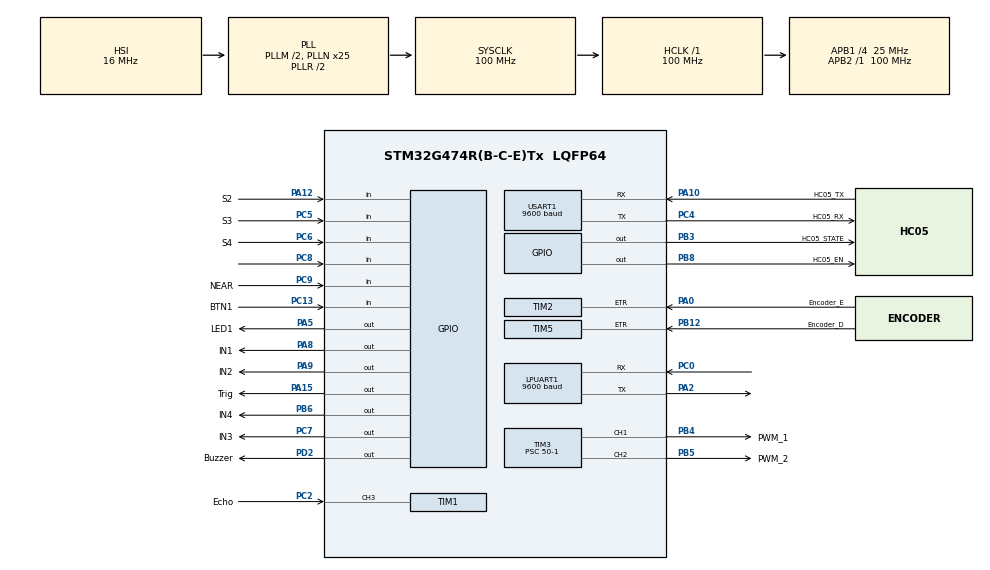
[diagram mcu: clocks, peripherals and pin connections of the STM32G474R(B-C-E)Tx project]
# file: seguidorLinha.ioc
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FREERTOS.BinarySemaphores01=SemaphoreMovimenta,Dynamic,NULL;SemaphoreComunica,Dynamic,NULL
FREERTOS.Tasks01=Utrassom,26,256,FunctionUltrassom,Default,NULL,Dynamic,NULL,NULL;Comunica,8,128,FunctionComunica,Default,NULL,Dynamic,NULL,NULL;Seguidor,17,128,FunctionSeguidor,Default,NULL,Dynamic,NULL,NULL;Motores,16,128,FunctionAtivarMotores,Default,NULL,Dynamic,NULL,NULL;Odometria,24,128,FunctionOdometria,Default,NULL,Dynamic,NULL,NULL
FREERTOS.configTOTAL_HEAP_SIZE=5120
FREERTOS.configUSE_NEWLIB_REENTRANT=1
LPUART1.BaudRate=9600
Mcu.Family=STM32G4
Mcu.Name=STM32G474R(B-C-E)Tx
Mcu.Package=LQFP64
NVIC.PriorityGroup=NVIC_PRIORITYGROUP_4
NVIC.TIM1_CC_IRQn=true\:5\:0\:false\:false\:true\:true\:true\:true\:true
NVIC.TIM6_DAC_IRQn=true\:5\:0\:false\:false\:true\:true\:true\:true\:true
PA0.GPIO_Label=Encoder_E
PA0.Signal=S_TIM2_ETR
PA10.GPIO_Label=HC05_TX
PA10.Mode=Asynchronous
PA10.Signal=USART1_RX
PA12.GPIO_Label=S2
PA12.Signal=GPIO_Input
PA15.GPIO_Label=Trig
PA15.Signal=GPIO_Output
PA2.Mode=Asynchronous
PA2.Signal=LPUART1_TX
PA5.GPIO_Label=LED1
PA5.Signal=GPIO_Output
PA8.GPIO_Label=IN1
PA8.Signal=GPIO_Output
PA9.GPIO_Label=IN2
PA9.Signal=GPIO_Output
PB12.GPIO_Label=Encoder_D
PB12.Signal=S_TIM5_ETR
PB3.GPIO_Label=HC05_STATE
PB3.Signal=GPIO_Output
PB4.GPIO_Label=PWM_1
PB4.GPIO_ModeDefaultPP=GPIO_MODE_AF_PP
PB4.GPIO_PuPd=GPIO_NOPULL
PB4.GPIO_Speed=GPIO_SPEED_FREQ_LOW
PB4.Signal=S_TIM3_CH1
PB5.GPIO_Label=PWM_2
PB5.GPIO_ModeDefaultPP=GPIO_MODE_AF_PP
PB5.GPIO_PuPd=GPIO_NOPULL
PB5.GPIO_Speed=GPIO_SPEED_FREQ_LOW
PB5.Signal=S_TIM3_CH2
PB6.GPIO_Label=IN4
PB6.Signal=GPIO_Output
PB8-BOOT0.GPIO_Label=HC05_EN
PB8-BOOT0.Signal=GPIO_Output
PC0.Mode=Asynchronous
PC0.Signal=LPUART1_RX
PC13.GPIO_Label=BTN1
PC13.Signal=GPIO_Input
PC2.GPIO_Label=Echo
PC2.GPIO_ModeDefaultPP=GPIO_MODE_AF_PP
PC2.GPIO_PuPd=GPIO_NOPULL
PC2.GPIO_Speed=GPIO_SPEED_FREQ_LOW
PC2.Signal=S_TIM1_CH3
PC4.GPIO_Label=HC05_RX
PC4.Mode=Asynchronous
PC4.Signal=USART1_TX
PC5.GPIO_Label=S3
PC5.Signal=GPIO_Input
PC6.GPIO_Label=S4
PC6.Signal=GPIO_Input
PC7.GPIO_Label=IN3
PC7.Signal=GPIO_Output
PC8.Signal=GPIO_Input
PC9.GPIO_Label=NEAR
PC9.Signal=GPIO_Input
PD2.GPIO_Label=Buzzer
PD2.Signal=GPIO_Output
ProjectManager.HeapSize=0x200
ProjectManager.StackSize=0x400
ProjectManager.TargetToolchain=STM32CubeIDE
RCC.ADC12Freq_Value=100000000
RCC.ADC345Freq_Value=100000000
RCC.AHBFreq_Value=100000000
RCC.APB1CLKDivider=RCC_HCLK_DIV4
RCC.APB1Freq_Value=25000000
RCC.APB1TimFreq_Value=50000000
RCC.APB2Freq_Value=100000000
RCC.APB2TimFreq_Value=100000000
RCC.CortexFreq_Value=100000000
RCC.EXTERNAL_CLOCK_VALUE=12288000
RCC.HCLKFreq_Value=100000000
RCC.HSE_VALUE=8000000
RCC.HSI48_VALUE=48000000
RCC.HSI_VALUE=16000000
RCC.LSE_VALUE=32768
RCC.PLLM=RCC_PLLM_DIV2
RCC.PLLN=25
RCC.SYSCLKFreq_VALUE=100000000
RCC.SYSCLKSource=RCC_SYSCLKSOURCE_PLLCLK
RCC.USBFreq_Value=100000000
RCC.VCOOutputFreq_Value=200000000
SH.S_TIM1_CH3.0=TIM1_CH3,Input_Capture3_from_TI3
SH.S_TIM2_ETR.0=TIM2_ETR,ClockSourceETR_Mode2
SH.S_TIM3_CH1.0=TIM3_CH1,PWM Generation1 CH1
SH.S_TIM3_CH2.0=TIM3_CH2,PWM Generation2 CH2
SH.S_TIM5_ETR.0=TIM5_ETR,ClockSourceETR_Mode2
TIM1.Channel-Input_Capture3_from_TI3=TIM_CHANNEL_3
TIM1.PeriodNoDither=65535
TIM1.Prescaler=50-1
TIM2.PeriodNoDither=1000000-1
TIM3.Channel-PWM\ Generation1\ CH1=TIM_CHANNEL_1
TIM3.Channel-PWM\ Generation2\ CH2=TIM_CHANNEL_2
TIM3.PeriodNoDither=100-1
TIM3.Prescaler=50-1
TIM5.PeriodNoDither=1000000-1
TIM6.PeriodNoDither=1000-1
TIM6.Prescaler=5000-1
USART1.BaudRate=9600
USART1.VirtualMode-Asynchronous=VM_ASYNC
VP_FREERTOS_VS_CMSIS_V2.Mode=CMSIS_V2
VP_TIM1_VS_ClockSourceINT.Mode=Internal
VP_TIM6_VS_ClockSourceINT.Mode=Enable_Timer
board=custom

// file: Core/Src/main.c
/* USER CODE BEGIN Header */
/**
  ******************************************************************************
  * @file           : main.c
  * @brief          : Main program body
  ******************************************************************************
  * @attention
  *
  * Copyright (c) 2022 STMicroelectronics.
  * All rights reserved.
  *
  * This software is licensed under terms that can be found in the LICENSE file
  * in the root directory of this software component.
  * If no LICENSE file comes with this software, it is provided AS-IS.
  *
  ******************************************************************************
  */
/* USER CODE END Header */
#include "main.h"
#include "cmsis_os.h"
#include "usart.h"
#include "tim.h"
#include "gpio.h"

/* USER CODE BEGIN Includes */
#include <stdio.h>
#include <string.h>
/* USER CODE END Includes */

void SystemClock_Config(void);
void MX_FREERTOS_Init(void);

/* USER CODE BEGIN 0 */

int _write(int file, char *ptr, int len){
  if(HAL_UART_Transmit_IT(&hlpuart1,(uint8_t *)ptr, len) != HAL_OK)
  {
	  Error_Handler();
  }
  return len;
}

/* USER CODE END 0 */

int main(void)
{

  /* MCU Configuration--------------------------------------------------------*/

  /* Reset of all peripherals, Initializes the Flash interface and the Systick. */
  HAL_Init();

  /* Configure the system clock */
  SystemClock_Config();

  /* Initialize all configured peripherals */
  MX_GPIO_Init();
  MX_TIM1_Init();
  MX_TIM2_Init();
  MX_TIM3_Init();
  MX_TIM6_Init();
  MX_LPUART1_UART_Init();
  MX_TIM5_Init();
  MX_USART1_UART_Init();

  /* Init scheduler */
  osKernelInitialize();  /* Call init function for freertos objects (in freertos.c) */
  MX_FREERTOS_Init();

  /* Start scheduler */
  osKernelStart();

  /* We should never get here as control is now taken by the scheduler */
  /* Infinite loop */
  while (1)
  {

  }
}

void SystemClock_Config(void)
{
  RCC_OscInitTypeDef RCC_OscInitStruct = {0};
  RCC_ClkInitTypeDef RCC_ClkInitStruct = {0};

  /** Configure the main internal regulator output voltage
  */
  HAL_PWREx_ControlVoltageScaling(PWR_REGULATOR_VOLTAGE_SCALE1);

  /** Initializes the RCC Oscillators according to the specified parameters
  * in the RCC_OscInitTypeDef structure.
  */
  RCC_OscInitStruct.OscillatorType = RCC_OSCILLATORTYPE_HSI;
  RCC_OscInitStruct.HSIState = RCC_HSI_ON;
  RCC_OscInitStruct.HSICalibrationValue = RCC_HSICALIBRATION_DEFAULT;
  RCC_OscInitStruct.PLL.PLLState = RCC_PLL_ON;
  RCC_OscInitStruct.PLL.PLLSource = RCC_PLLSOURCE_HSI;
  RCC_OscInitStruct.PLL.PLLM = RCC_PLLM_DIV2;
  RCC_OscInitStruct.PLL.PLLN = 25;
  RCC_OscInitStruct.PLL.PLLP = RCC_PLLP_DIV2;
  RCC_OscInitStruct.PLL.PLLQ = RCC_PLLQ_DIV2;
  RCC_OscInitStruct.PLL.PLLR = RCC_PLLR_DIV2;
  if (HAL_RCC_OscConfig(&RCC_OscInitStruct) != HAL_OK)
  {
    Error_Handler();
  }

  /** Initializes the CPU, AHB and APB buses clocks
  */
  RCC_ClkInitStruct.ClockType = RCC_CLOCKTYPE_HCLK|RCC_CLOCKTYPE_SYSCLK
                              |RCC_CLOCKTYPE_PCLK1|RCC_CLOCKTYPE_PCLK2;
  RCC_ClkInitStruct.SYSCLKSource = RCC_SYSCLKSOURCE_PLLCLK;
  RCC_ClkInitStruct.AHBCLKDivider = RCC_SYSCLK_DIV1;
  RCC_ClkInitStruct.APB1CLKDivider = RCC_HCLK_DIV4;
  RCC_ClkInitStruct.APB2CLKDivider = RCC_HCLK_DIV1;

  if (HAL_RCC_ClockConfig(&RCC_ClkInitStruct, FLASH_LATENCY_3) != HAL_OK)
  {
    Error_Handler();
  }
}

void Error_Handler(void)
{
  __disable_irq();
  while (1)
  {
  }
}

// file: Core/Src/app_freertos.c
/* USER CODE BEGIN Header */
/* ***********************************************************************************
*File name: seguidorLinha.c
*
*File description:  Projeto da disciplina IM420X com foco na utilização de Sistema Operacional em Tempo Real (RTOS)
* 					para gerenciamento de tarefas. O presente trabalho teve como finalidade desenvolver um veículo
* 					seguidor de linhas capaz de,atravez de sensores, evitar colisões.
* Author name:
*				Ramiro Romankevicius Costa.
*				Djalma Santana Malta Neto.
*
* Creation date: 10/11/2022.
*
* Revision date: 05/12/2022.
********************************************************************************** */
/* USER CODE END Header */

#include "FreeRTOS.h"
#include "task.h"
#include "main.h"
#include "cmsis_os.h"

/* USER CODE BEGIN Includes */
#include "usart.h"
#include "tim.h"
#include "stdio.h"
#include "stdlib.h"
#include <string.h>
#include "math.h"
#include "pid.h"
/* USER CODE END Includes */

/* USER CODE BEGIN Variables */

/*variáveis utilizadas pelo sensor ultrassônico*/
long lValor1;
long lValor2;
float fDiferenca, fDistancia;
uint8_t uiIsFirst = 1;

/*variáveis utilizadas pelos motores*/
float fVelocidade = 0.2; // M/s
float fReducao = 0.5;
float fWAngularD, fWAngularE,fPIDVal_D, fPIDVal_E, fVE,fVD;

/*variáveis utilizadas pela odometria*/
#define FUROS 20
#define RAIO 0.0325
#define COMPRIMENTO 0.12
#define LARGURA 0.028
#define PI 3.141516
#define fTs 0.1

float fTeta, fX, fY, fDistanciaO;

/*encoder_Esquerdo*/
unsigned long ulPulsesE;
float fWE;

/*encoder_Direito*/
unsigned long ulPulsesD;
float fWD;

/*variáveis utilizadas pelo seguidor*/
uint32_t uiStart = 0;
uint32_t uiBloqueado = 0;
uint32_t uiCountSeguidor = 0;

/*variáveis utilizadas para comunicação*/
char cMostrar[100];
char cData='M';

/* USER CODE END Variables */
/* Definitions for Utrassom */
osThreadId_t UtrassomHandle;
const osThreadAttr_t Utrassom_attributes = {
  .name = "Utrassom",
  .priority = (osPriority_t) osPriorityNormal2,
  .stack_size = 256 * 4
};
/* Definitions for Comunica */
osThreadId_t ComunicaHandle;
const osThreadAttr_t Comunica_attributes = {
  .name = "Comunica",
  .priority = (osPriority_t) osPriorityLow,
  .stack_size = 128 * 4
};
/* Definitions for Seguidor */
osThreadId_t SeguidorHandle;
const osThreadAttr_t Seguidor_attributes = {
  .name = "Seguidor",
  .priority = (osPriority_t) osPriorityBelowNormal1,
  .stack_size = 128 * 4
};
/* Definitions for Motores */
osThreadId_t MotoresHandle;
const osThreadAttr_t Motores_attributes = {
  .name = "Motores",
  .priority = (osPriority_t) osPriorityBelowNormal,
  .stack_size = 128 * 4
};
/* Definitions for Odometria */
osThreadId_t OdometriaHandle;
const osThreadAttr_t Odometria_attributes = {
  .name = "Odometria",
  .priority = (osPriority_t) osPriorityNormal,
  .stack_size = 128 * 4
};
/* Definitions for SemaphoreMovimenta */
osSemaphoreId_t SemaphoreMovimentaHandle;
const osSemaphoreAttr_t SemaphoreMovimenta_attributes = {
  .name = "SemaphoreMovimenta"
};
/* Definitions for SemaphoreComunica */
osSemaphoreId_t SemaphoreComunicaHandle;
const osSemaphoreAttr_t SemaphoreComunica_attributes = {
  .name = "SemaphoreComunica"
};

void FunctionUltrassom(void *argument);
void FunctionComunica(void *argument);
void FunctionSeguidor(void *argument);
void FunctionAtivarMotores(void *argument);
void FunctionOdometria(void *argument);

void MX_FREERTOS_Init(void); /* (MISRA C 2004 rule 8.1) */

void MX_FREERTOS_Init(void) {

  /* Create the semaphores(s) */
  /* creation of SemaphoreMovimenta */
  SemaphoreMovimentaHandle = osSemaphoreNew(1, 1, &SemaphoreMovimenta_attributes);

  /* creation of SemaphoreComunica */
  SemaphoreComunicaHandle = osSemaphoreNew(1, 1, &SemaphoreComunica_attributes);

  /* Create the thread(s) */
  /* creation of Utrassom */
  UtrassomHandle = osThreadNew(FunctionUltrassom, NULL, &Utrassom_attributes);

  /* creation of Comunica */
  ComunicaHandle = osThreadNew(FunctionComunica, NULL, &Comunica_attributes);

  /* creation of Seguidor */
  SeguidorHandle = osThreadNew(FunctionSeguidor, NULL, &Seguidor_attributes);

  /* creation of Motores */
  MotoresHandle = osThreadNew(FunctionAtivarMotores, NULL, &Motores_attributes);

  /* creation of Odometria */
  OdometriaHandle = osThreadNew(FunctionOdometria, NULL, &Odometria_attributes);

}

void FunctionUltrassom(void *argument)
{
  /* USER CODE BEGIN FunctionUltrassom */
	HAL_TIM_IC_Start_IT(&htim1, TIM_CHANNEL_3);
  /* Infinite loop */
	for(;;)
	{
		/*É dado um pulso inicial no pino do trigge por 10ms*/
		__HAL_TIM_ENABLE_IT(&htim1, TIM_CHANNEL_3);
		HAL_GPIO_WritePin(Trig_GPIO_Port, Trig_Pin, 1);
		osDelay(10);
		HAL_GPIO_WritePin(Trig_GPIO_Port, Trig_Pin, 0);
		osDelay(500);
	}
  /* USER CODE END FunctionUltrassom */
}

void FunctionComunica(void *argument)
{
  /* USER CODE BEGIN FunctionComunica */
  /* Infinite loop */
  for(;;)
  {
	  osSemaphoreAcquire(SemaphoreComunicaHandle, 200);

	  /*
	   * Baseado em notas de aula, e aconselhamento com o aluno Christian da Rocha Iardino sobre uso da interrupção com o modulo HC-05
	   * Captura de valor vindo do terminal remoto bluetooth podem=ndo ser "M", "O" ou "V"
	   * Sendo "M" RPS de cada roda, "O" dados da odometria e "V" deslocamento em m/s de cada roda
	   */
	  HAL_UART_Receive(&huart1, (uint8_t *)&cData, sizeof(cData),100);
	  if(uiBloqueado){
		  int dist1 = (int)fDistancia;
		  int dist2 = (fDistancia-(int)fDistancia)*100;

		  sprintf(cMostrar,"Blockeado: %d.%02d \r \n ",dist1,dist2);
	  } else if(!uiStart){
		  sprintf(cMostrar,"Aguardando Start!! \r \n ");
	  } else{
		  if(cData == 'O' || cData == 'o'){
			  int valor1 = (int)fDistanciaO;
			  int valor2 = (fDistanciaO-(int)fDistanciaO)*100;

			  sprintf(cMostrar,"Distancia Percorrida: %d.%02dm \r \n ",valor1,valor2);
		  }else if(cData == 'V' || cData == 'v'){
			  int valor1 = (int)fWE;
			  int valor2 = (fWE-(int)fWE)*100;

			  int valor3 = (int)fWD;
			  int valor4 = (fWD-(int)fWD)*100;

			  sprintf(cMostrar,"MotorE: %d.%02d m/s -- MotorD: %d.%02d m/s \r \n ",valor1,valor2,valor3,valor4);
		  }else{
			  cData = 'M';
			  float valE = ((float)ulPulsesE/FUROS)*10;
			  float valD = ((float)ulPulsesD/FUROS)*10;

			  int valor1 = (int)valE;
			  int valor2 = (valE-(int)valE)*100;

			  int valor3 = (int)valD;
			  int valor4 = (valD-(int)valD)*100;

			  sprintf(cMostrar,"RPS_E: %d.%02d -- RPS_D: %d.%02d \r \n ",valor1,valor2,valor3,valor4);
		  }
	  }

	  /*transmite a informação via UART e via BlueTooth*/
	  HAL_UART_Transmit(&huart1, (uint8_t*)cMostrar, sizeof(cMostrar), 100);
	  HAL_UART_Transmit(&hlpuart1, (uint8_t*)cMostrar, sizeof(cMostrar), 100);

	  osSemaphoreRelease(SemaphoreComunicaHandle);
	  osDelay(100);
  }
  /* USER CODE END FunctionComunica */
}

void FunctionSeguidor(void *argument)
{
  /* USER CODE BEGIN FunctionSeguidor */

	/* Etapa baseado em notas de aula. */

  /* Infinite loop */
  for(;;)
  {
	  /*Faz a leitura dos dados dos sensores*/
    uint8_t uiS2 = HAL_GPIO_ReadPin(S2_GPIO_Port, S2_Pin);
    uint8_t uiS3 = HAL_GPIO_ReadPin(S3_GPIO_Port, S3_Pin);
    uint8_t uiS4 = HAL_GPIO_ReadPin(S4_GPIO_Port, S4_Pin);

    //uint8_t uiNEAR = HAL_GPIO_ReadPin(NEAR_GPIO_Port, NEAR_Pin);
    //uint8_t uiCLP = HAL_GPIO_ReadPin(CLP_GPIO_Port, CLP_Pin);
    uint8_t uiBTN = HAL_GPIO_ReadPin(BTN1_GPIO_Port, BTN1_Pin);

    osSemaphoreAcquire(SemaphoreMovimentaHandle, 200);

    if(uiBloqueado){/*caso blockeado...*/
    	fWAngularD = 0;
		fWAngularE = 0;
		HAL_GPIO_WritePin(Buzzer_GPIO_Port, Buzzer_Pin, GPIO_PIN_SET);
		osDelay(500);
		HAL_GPIO_WritePin(Buzzer_GPIO_Port, Buzzer_Pin, GPIO_PIN_RESET);
    }else if(uiBTN){/*caso BTN start pressionado...*/
    	uiStart = uiStart?0:1;
    	uiCountSeguidor = 0;
    	fWAngularD = 0;
    	fWAngularE = 0;
    	HAL_GPIO_WritePin(Buzzer_GPIO_Port, Buzzer_Pin, GPIO_PIN_SET);
    	osDelay(500);
    	HAL_GPIO_WritePin(Buzzer_GPIO_Port, Buzzer_Pin, GPIO_PIN_RESET);
    	osDelay(500);
    }else if(uiStart && uiCountSeguidor < 50){/*caso start pressionado e o veículo esteja na linha...*/
    	if(uiS2 && uiS3 && !uiS4){/*caso linha no sensor direito...*/
    		uiCountSeguidor = 0;
			fWAngularE = fVelocidade;
			fWAngularD = 0;
		}else if(!uiS2 && uiS3 && uiS4){/*caso linha no sensor esquerdo...*/
			uiCountSeguidor = 0;
			fWAngularE = 0;
			fWAngularD = fVelocidade;
		}else if(uiS2 && !uiS3 && uiS4){/*caso linha no sensor do meio...*/
			uiCountSeguidor = 0;
			fWAngularD = fVelocidade;
			fWAngularE = fVelocidade;
		}else if(!uiS2 && !uiS3 && !uiS4){/*caso linha nos tres sensores(Fim de curso)...*/
			uiCountSeguidor = 0;
			fWAngularD = 0;
			fWAngularE = 0;
			uiStart = 0;
			HAL_GPIO_WritePin(Buzzer_GPIO_Port, Buzzer_Pin, GPIO_PIN_SET);
			osDelay(100);
			HAL_GPIO_WritePin(Buzzer_GPIO_Port, Buzzer_Pin, GPIO_PIN_RESET);
			osDelay(100);
		}
    	/*
    	 * Caso o veículo saia da linha ele permanece fazendo a ultima manobra de correção, enquanto não encontrar  a linha
    	 * o contador "uiCountSeguidor" irá incrementar e quando exceder o valor 50 o veículo ira para o modo blockeado
    	 */
    	if(uiS2 && uiS3 && uiS4){/*caso sensores fora da linha(fora da trajetória)...*/
    		uiCountSeguidor++;
		}
    }else{
    	if(uiCountSeguidor >= 50){
    		uiBloqueado = 1;
    	}
    	fWAngularD = 0;
		fWAngularE = 0;
    }
    osDelay(100);
    osSemaphoreRelease(SemaphoreMovimentaHandle);
  }
  /* USER CODE END FunctionSeguidor */
}

void FunctionAtivarMotores(void *argument)
{
  /* USER CODE BEGIN FunctionAtivarMotores */

	/* baseado em: https://deepbluembedded.com/stm32-pwm-example-timer-pwm-mode-tutorial/ */

	/*Iniciando o PWM*/
	HAL_TIM_PWM_Start(&htim3, TIM_CHANNEL_1);
	HAL_TIM_PWM_Start(&htim3, TIM_CHANNEL_2);

	/*Iniciando o PID com os devidos ganhos*/
	sPID_D pid_D;
	sPID_E pid_E;

	pid_E.fKpE = 15;
	pid_E.fKiE = 0.8;
	pid_E.fKdE = 0.0001;
	pid_E.fTsE = 100;
	pid_E.fOutminE = 0;
	pid_E.fOutmaxE = 100;
	PID_init_E(&pid_E);

	pid_D.fKpD = 15;
	pid_D.fKiD = 0.8;
	pid_D.fKdD = 0.0001;
	pid_D.fTsD = 100;
	pid_D.fOutminD = 0;
	pid_D.fOutmaxD = 100;
	PID_init_D(&pid_D);

  /* Infinite loop */
  for(;;)
  {
	  osSemaphoreAcquire(SemaphoreMovimentaHandle, 200);

	  /*seta o IN1, IN2, IN3 e IN4 de forma que o veículo siga em frente*/
	  HAL_GPIO_WritePin(IN1_GPIO_Port, IN1_Pin, 1);
	  HAL_GPIO_WritePin(IN2_GPIO_Port, IN2_Pin, 0);

	  HAL_GPIO_WritePin(IN3_GPIO_Port, IN3_Pin, 0);
	  HAL_GPIO_WritePin(IN4_GPIO_Port, IN4_Pin, 1);

	  /*
	   * caso os valores referentes à velocidade dos dois motores sejam "0" o veículo deve parar imediatamente
	   * caso contrario deve prosseguir normalmente
	   */
	  if(!fWAngularD && !fWAngularE){
		  HAL_GPIO_WritePin(IN1_GPIO_Port, IN1_Pin, 0);
		  HAL_GPIO_WritePin(IN2_GPIO_Port, IN2_Pin, 0);

		  HAL_GPIO_WritePin(IN3_GPIO_Port, IN3_Pin, 0);
		  HAL_GPIO_WritePin(IN4_GPIO_Port, IN4_Pin, 0);

		  fPIDVal_E = 0;
		  fPIDVal_D = 0;
	  }else{
		  /*
		   * A função "PID_E" e "PID_D" retorna o valor PWM para cada motor de acordo com a realimentação vinda do encoder
		   * Adaptado de: https://embeddedexpert.io/?p=960,  https://embeddedexpert.io/?p=968 https://embeddedexpert.io/?p=1035
		   */
		  fPIDVal_E = PID_E(fVE, fWAngularE);
		  fPIDVal_D = PID_D(fVD, fWAngularD);

	  }
	  htim3.Instance->CCR2 = fPIDVal_E;
	  htim3.Instance->CCR1 = fPIDVal_D;

	  osSemaphoreRelease(SemaphoreMovimentaHandle);
	  osDelay(100);
  }
  /* USER CODE END FunctionAtivarMotores */
}

void FunctionOdometria(void *argument)
{
  /* USER CODE BEGIN FunctionOdometria */

	/*
	 * Notas de aula e referência:
	 * R. Siegwart, D. Scaramuzza, I. R. Nourbakhsh e R. C. Arkin, Introduction to Autonomous Mobile Robots, 2nd Edition ed., Cambridge, Massachusetts: Mit Press, 2011..
	 */

	HAL_TIM_Base_Start_IT(&htim6);
	HAL_TIM_Base_Start(&htim2);
	HAL_TIM_Base_Start(&htim5);
  /* Infinite loop */
  for(;;)
  {
	  osSemaphoreAcquire(SemaphoreComunicaHandle, 100);

	  /*Primeiro é calculado o valor Teta*/
	  fTeta = fTeta + ((fVD-fVE)/(COMPRIMENTO+LARGURA))*fTs;

	  /*Assim é calculado o valor de deslocamento em X e Y*/
	  fX = fX + ((fVD+fVE)/2)*cos(fTeta)*fTs;
	  fY = fY + ((fVD+fVE)/2)*sin(fTeta)*fTs;

	  /*a distancia é dada pela relação da raiz da doma dos quadrados de X e Y*/
	  fDistanciaO = (sqrt(pow(fX,2) + pow(fY,2)))/0.75;
	  osSemaphoreRelease(SemaphoreComunicaHandle);
	  osDelay(100);
  }
  /* USER CODE END FunctionOdometria */
}

/* USER CODE BEGIN Application */

/*interrupção para captura do ultrassônico*/
void HAL_TIM_IC_CaptureCallback(TIM_HandleTypeDef *htim) {

	/*
	 * baseado em: https://controllerstech.com/hcsr04-ultrasonic-sensor-and-stm32
	 * Auxilio do aluno Giácomo Antonio Dollevedo, no uso e configuração dos timers.
	 */

	if(htim == &htim1){
		/*a interrupção é disparada na borda de subida onde pega o primeiro valor do timer*/
		if(uiIsFirst){
			fDistancia = 0;
			lValor1 = HAL_TIM_ReadCapturedValue(htim, TIM_CHANNEL_3);
			/*
			 * Setando o "uiIsFirst" como "0" e forçando a captura da borda de descida, é esperado que
			 * na proxima interrupção seja pego o valor do timer referente ao tempo que o ECHO ficou em alta
			 */
			uiIsFirst=0;
			__HAL_TIM_SET_CAPTUREPOLARITY(htim, TIM_CHANNEL_3, TIM_INPUTCHANNELPOLARITY_FALLING);
		}else{
			/*pegando o segundo valor do timer*/
			lValor2 = HAL_TIM_ReadCapturedValue(htim, TIM_CHANNEL_3);

			/*calculando a diferença entre a borda de subida e descida*/
			fDiferenca = (float)((unsigned)lValor2-(unsigned)lValor1);
			fDistancia = ((fDiferenca/2)*0.0001)*340/2 < 100?((fDiferenca/2)*0.0001)*340/2 : fDistancia;

			/*
			 * caso valor superior a 0 e inferior a 20 o veículo será blockeado
			 * o valor deve ser superior a 0 pois, caso não haja captura, o valo será "0" e
			 * não necessariamente deve ser blockeado
			 * */
			uiBloqueado = (fDistancia>0 && fDistancia<20) ? 1 : 0;

			/*seta a captura para borda de subida e "uiIsFirst" para primeiro valor novamente*/
			uiIsFirst=1;
			__HAL_TIM_SET_CAPTUREPOLARITY(htim, TIM_CHANNEL_3, TIM_INPUTCHANNELPOLARITY_RISING);
			__HAL_TIM_DISABLE_IT(htim, TIM_CHANNEL_3);
		}
	}
}

/*interrupção a cada 100ms para calcular o valor do encoder que incrementa o contador do TIMER*/
void HAL_TIM_PeriodElapsedCallback(TIM_HandleTypeDef * htim){

	/* baseado em notas de aula */

	if(htim == &htim6){
		/*pegando os valores do contador do timer*/
		ulPulsesE = __HAL_TIM_GET_COUNTER(&htim2);
		ulPulsesD = __HAL_TIM_GET_COUNTER(&htim5);

		/*LED para verificar o correto funcionamento da interrupção*/
		HAL_GPIO_TogglePin(LED1_GPIO_Port, LED1_Pin);

		/*Calculando a velocidade em rad/s de acordo ao "fTs" que é a taxa de amostragem*/
		fWE = (((float)ulPulsesE/FUROS)*2*PI)/fTs;
		fWD = (((float)ulPulsesD/FUROS)*2*PI)/fTs;

		/* Aqui é calculado a Velocidade de cada roda em m/s */
		fVE = fWE*RAIO;
		fVD = fWD*RAIO;

		/*resetando o contador dos timers*/
		__HAL_TIM_SET_COUNTER(&htim2,0);
		__HAL_TIM_SET_COUNTER(&htim5,0);
	}
}

/* USER CODE END Application */
